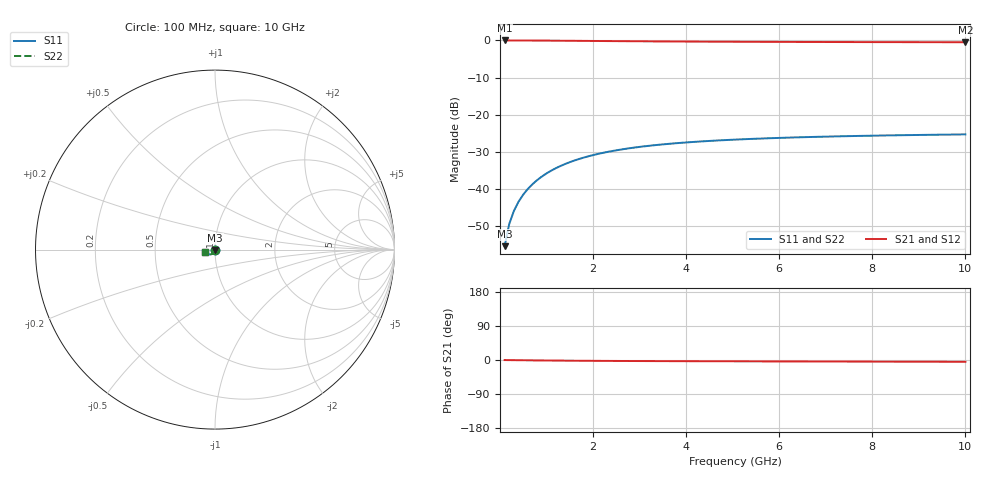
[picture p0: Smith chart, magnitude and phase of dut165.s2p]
! Touchstone file exported from HFSS 2024.1.0
!  File:  C:/UserFiles/LocalFiles/RDL_TSV_Batchsim/temp_TSV1_165_1779382765.aedt
!  Generated:  01:05:27 AM May 22, 2026
!  Design:  TSV1
!  Project:  temp_TSV1_165_1779382765
!  Setup:  Setup1
!  Solution:  Sweep
! Variables:
!  dtsv = 12.64um
!  hbump = 3um
!  htsv = 73.24um
!  lrdl = 252.1521522um
!  p = 40
!  p1 = 48.96um
!  t = 500um
!  trdl = 3um
!  wrdl = 24.89489489um
# GHz S MA R 50.000000
! Terminal data exported
! Port[1] = TSV22_T1
! Port[2] = TSV22_T2
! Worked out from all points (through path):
!   100 points, 100 MHz to 10 GHz, reference 50 ohm
!   highest |S21| = 0.00 dB at 100 MHz (marker M1); lowest = -0.5 dB at 10 GHz (marker M2)
!   lowest |S11| = -55.5 dB at 100 MHz (marker M3), VSWR 1.00, Z = 50 - j0.168 ohm
!   |S11| at or under -10 dB: start of sweep to end of sweep
!   |S22| runs from -55.5 to -25.3 dB; largest |S21 - S12| = 1.1e-14
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0.1  0.001684 -88.9  0.9999 -0.1  0.9999 -0.1  0.001684 -88.9
! Gamma 0 0 0 0
! Port Impedance 50 0 50 0
0.2  0.003365 -92.1  0.9997 -0.3  0.9997 -0.3  0.003365 -92.1
0.3  0.005041 -94.4  0.9994 -0.4  0.9994 -0.4  0.005041 -94.4
0.4  0.006705 -96.5  0.999 -0.6  0.999 -0.6  0.006705 -96.5
0.5  0.008349 -98.5  0.9985 -0.7  0.9985 -0.7  0.008349 -98.5
0.6  0.009969 -100.5  0.9979 -0.8  0.9979 -0.8  0.009969 -100.5
0.7  0.01156 -102.4  0.9972 -0.9  0.9972 -0.9  0.01156 -102.4
0.8  0.01312 -104.2  0.9965 -1.1  0.9965 -1.1  0.01312 -104.2
0.9  0.01464 -106.0  0.9957 -1.2  0.9957 -1.2  0.01464 -106.0
1.1  0.01755 -109.5  0.9939 -1.4  0.9939 -1.4  0.01755 -109.5
1.4  0.0216 -114.4  0.9909 -1.7  0.9909 -1.7  0.0216 -114.4
1.6  0.02407 -117.5  0.9888 -1.9  0.9888 -1.9  0.02407 -117.5
1.8  0.02635 -120.4  0.9866 -2.1  0.9866 -2.1  0.02635 -120.4
2.1  0.02945 -124.4  0.9833 -2.3  0.9833 -2.3  0.02945 -124.4
2.5  0.03302 -129.2  0.9792 -2.5  0.9792 -2.5  0.03302 -129.2
2.9  0.03603 -133.4  0.9753 -2.7  0.9753 -2.7  0.03603 -133.4
3.4  0.03915 -138.1  0.971 -2.9  0.971 -2.9  0.03915 -138.1
4.2  0.043 -144.2  0.9652 -3.2  0.9652 -3.2  0.043 -144.2
5.1  0.04618 -149.8  0.9601 -3.5  0.9601 -3.5  0.04618 -149.8
6.7  0.04997 -157.4  0.9537 -3.9  0.9537 -3.9  0.04997 -157.4
8.4  0.05252 -163.5  0.9493 -4.3  0.9493 -4.3  0.05252 -163.5
10  0.05413 -168.1  0.9464 -4.8  0.9464 -4.8  0.05413 -168.1
